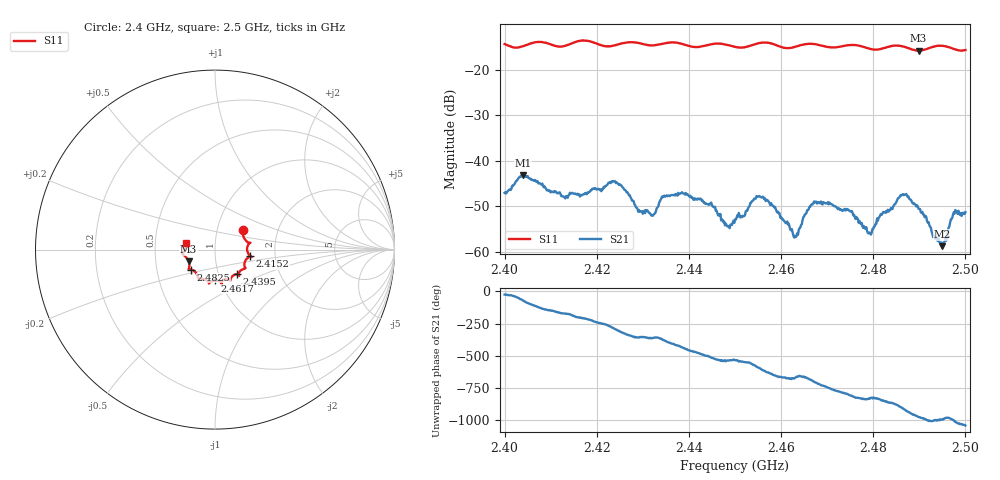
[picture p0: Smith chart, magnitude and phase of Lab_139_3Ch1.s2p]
# Hz S RI R 50
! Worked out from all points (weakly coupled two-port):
!   601 points, 2.4 GHz to 2.5 GHz, reference 50 ohm
!   highest |S21| = -43.13 dB at 2.404 GHz (marker M1); lowest = -58.7 dB at 2.495 GHz (marker M2)
!   lowest |S11| = -15.9 dB at 2.4898 GHz (marker M3), VSWR 1.38, Z = 36.9 - j4.91 ohm
!   |S11| at or under -10 dB: start of sweep to end of sweep
!   S12 and S22 are empty: the file has one direction only
!   S11 on the Smith chart (normalised r, x): 2.4 GHz: 1.33, +0.30; 2.4152 GHz: 1.48, -0.11; 2.4395 GHz: 1.22, -0.35; 2.4617 GHz: 0.94, -0.33; 2.4825 GHz: 0.75, -0.17; 2.5 GHz: 0.72, +0.05
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2.4e9  0.1558 0.1094  0.00406 -0.00185  0 0  0 0
2.404e9  0.1737 0.0482  0.00234 -0.00657  0 0  0 0
2.415167e9  0.1958 -0.0361  -0.00424 0.00106  0 0  0 0
2.416667e9  0.2038 -0.0416  -0.00383 0.00174  0 0  0 0
2.423667e9  0.1635 -0.0825  0.00169 0.00576  0 0  0 0
2.4295e9  0.1615 -0.1071  0.00276 0.000282  0 0  0 0
2.433333e9  0.1328 -0.1329  0.00315 -2.99e-05  0 0  0 0
2.4395e9  0.1228 -0.1378  6.9e-05 -0.00428  0 0  0 0
2.45e9  0.0668 -0.1644  -0.00227 -0.000207  0 0  0 0
2.455167e9  0.0361 -0.1914  -0.00239 0.00334  0 0  0 0
2.461667e9  0.000736 -0.172  0.00149 0.00141  0 0  0 0
2.463167e9  -0.019 -0.1773  0.000934 0.00112  0 0  0 0
2.466667e9  -0.0336 -0.1887  0.00298 0.0015  0 0  0 0
2.474833e9  -0.0909 -0.1618  0.000107 -0.00285  0 0  0 0
2.479167e9  -0.1026 -0.1349  -0.00075 -0.00146  0 0  0 0
2.4825e9  -0.1325 -0.1112  -0.0019 -0.00194  0 0  0 0
2.483333e9  -0.1398 -0.1104  -0.00223 -0.00165  0 0  0 0
2.486667e9  -0.145 -0.1034  -0.00402 0.00129  0 0  0 0
2.489833e9  -0.1476 -0.0649  -0.000604 0.00293  0 0  0 0
2.495e9  -0.1813 -0.0209  0.000129 0.00115  0 0  0 0
2.497667e9  -0.1672 -0.0021  0.00104 0.00243  0 0  0 0
2.5e9  -0.1598 0.0355  0.00221 0.00162  0 0  0 0
